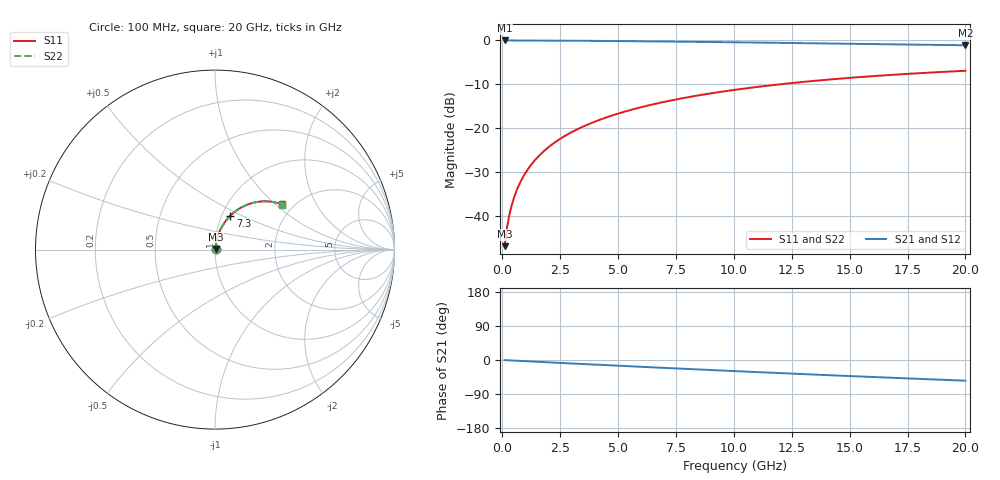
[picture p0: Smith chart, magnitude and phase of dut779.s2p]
! Touchstone file exported from HFSS 2026.1.0
!  File:  C:/ffzhzh/LocalFiles/Ansys_Project_Files/temp_train_BSMRDL_779_1783169334_43440.aedt
!  Generated:  08:50:18 PM Jul  4, 2026
!  Design:  BSMRDL
!  Project:  temp_train_BSMRDL_779_1783169334_43440
! Variables:
!  h_bsmrdl = 5.26um
!  h_ox = 20um
!  h_rdl = 5um
!  h_sub = 80um
!  h_tmrdl = 5um
!  h_tsv = 80um
!  h_via = 3um
!  l_bsmrdl = 859um
!  l_sub = 1259um
!  l_tmrdl = 200um
!  m_sub = 200um
!  pitch = 45.11um
!  r_tsv = 6um
!  s_tmrdl = 10um
!  w_bsmrdl = 19.03um
!  w_sub = 500um
!  w_tmrdl = 12um
!  x_tsv_center1 = 206um
!  x_tsv_center2 = 1084.03um
!  x_tsv_center3 = 1296.03um
!  x_tsv_center4 = 2174.06um
!  x_tsv_center5 = 2386.06um
!  x_tsv_center6 = 3264.09um
# GHz S MA R 50.000000
! Terminal data exported
! Port[1] = BSM_RDL1_1_T1
! Port[2] = BSM_RDL1_1_T2
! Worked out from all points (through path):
!   200 points, 100 MHz to 20 GHz, reference 50 ohm
!   highest |S21| = -0.03 dB at 100 MHz (marker M1); lowest = -1.1 dB at 20 GHz (marker M2)
!   group delay of S21, straight-line fit = 7.57 ps
!   lowest |S11| = -46.7 dB at 100 MHz (marker M3), VSWR 1.01, Z = 50.3 + j0.333 ohm
!   |S11| at or under -10 dB: start of sweep to 11.97 GHz
!   |S22| runs from -46.7 to -6.9 dB; largest |S21 - S12| = 1.6e-14
!   S11 on the Smith chart (normalised r, x): 100 MHz: 1.01, +0.01; 7.3 GHz: 1.10, +0.43; 20 GHz: 1.75, +1.11
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0.1  0.004599 46.0  0.9968 -0.3  0.9968 -0.3  0.004599 46.0
! Gamma 0 0 0 0
! Port Impedance 50 0 50 0
0.2  0.007337 62.1  0.9966 -0.6  0.9966 -0.6  0.007337 62.1
0.3  0.01024 69.0  0.9964 -0.9  0.9964 -0.9  0.01024 69.0
0.4  0.01319 72.7  0.9963 -1.3  0.9963 -1.3  0.01319 72.7
0.5  0.01615 75.1  0.9962 -1.6  0.9962 -1.6  0.01615 75.1
0.6  0.01914 76.7  0.996 -1.9  0.996 -1.9  0.01914 76.7
0.8  0.02516 78.5  0.9958 -2.5  0.9958 -2.5  0.02516 78.5
1.1  0.03422 79.7  0.9953 -3.4  0.9953 -3.4  0.03422 79.6
1.5  0.0463 79.9  0.9945 -4.6  0.9945 -4.6  0.0463 79.9
1.8  0.05532 79.6  0.9938 -5.5  0.9938 -5.5  0.05532 79.6
2.1  0.06429 79.1  0.993 -6.5  0.993 -6.5  0.06429 79.1
2.7  0.08202 77.8  0.991 -8.3  0.991 -8.3  0.08202 77.8
3.5  0.1052 75.8  0.988 -10.7  0.988 -10.7  0.1052 75.8
4.2  0.125 74.0  0.9849 -12.7  0.9849 -12.7  0.125 73.9
5  0.1472 71.8  0.9811 -15.1  0.9811 -15.1  0.1472 71.8
6.8  0.1951 66.9  0.9713 -20.3  0.9713 -20.3  0.1951 66.9
7.3  0.2079 65.6  0.9683 -21.7  0.9683 -21.7  0.2079 65.6
8.6  0.2402 62.1  0.9601 -25.4  0.9601 -25.4  0.2402 62.1
10.1  0.2754 58.2  0.95 -29.5  0.95 -29.5  0.2755 58.2
13.4  0.3452 49.7  0.9262 -38.3  0.9262 -38.3  0.3452 49.7
16.7  0.4037 41.6  0.9019 -46.6  0.9019 -46.6  0.4037 41.6
20  0.4511 33.9  0.8792 -54.6  0.8792 -54.6  0.4512 33.8
